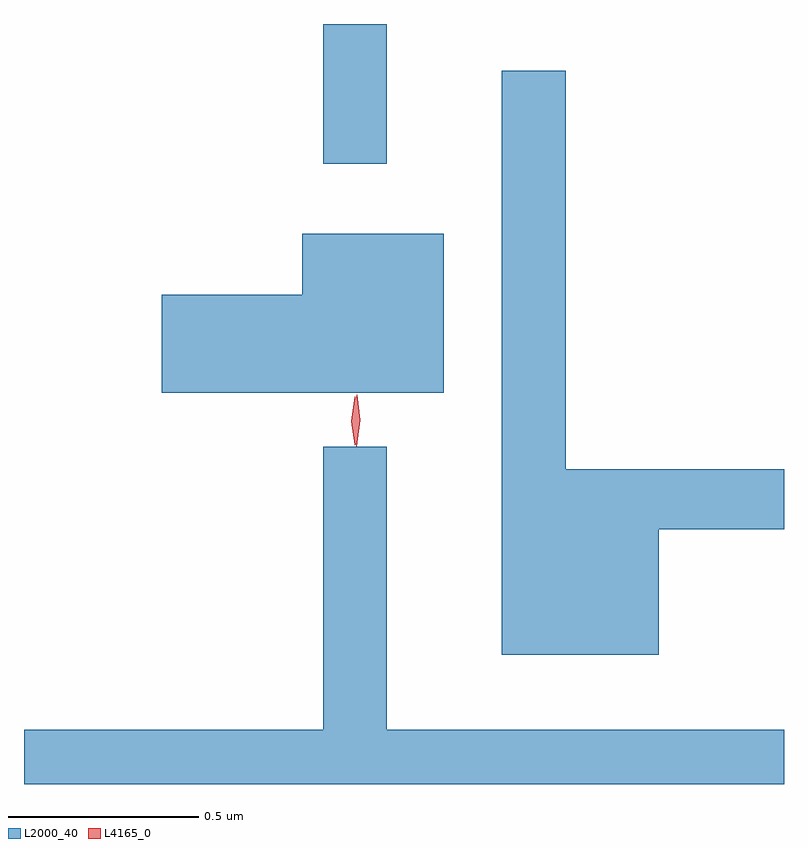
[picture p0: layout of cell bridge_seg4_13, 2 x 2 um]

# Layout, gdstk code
import gdstk
lib = gdstk.Library(unit=1e-6, precision=1e-09)
def R(c, l, rs):  # rectangles x0, y0, x1, y1
    for r in rs: c.add(gdstk.rectangle(r[:2], r[2:], *l))
def P(c, l, *ps):  # polygons
    for p in ps: c.add(gdstk.Polygon(p, *l))
L2000_40 = (2000, 40)
L4165_0 = (4165, 0)

bridge_seg4_13 = lib.new_cell('bridge_seg4_13')
R(bridge_seg4_13, L2000_40, [(1167.361,1298.713,1167.529,1299.081)])
P(bridge_seg4_13, L2000_40, [(1168.244,1297.751),(1168.574,1297.751),(1168.574,1297.909),(1167.999,1297.909),(1167.999,1298.958),(1167.831,1298.958),(1167.831,1297.421),(1168.244,1297.421)],
  [(1167.679,1298.529),(1167.306,1298.529),(1167.306,1298.369),(1166.936,1298.369),(1166.936,1298.111),(1167.679,1298.111)],
  [(1168.574,1297.224),(1167.529,1297.224),(1167.529,1297.968),(1167.361,1297.968),(1167.361,1297.224),(1166.574,1297.224),(1166.574,1297.081),(1168.574,1297.081)])
P(bridge_seg4_13, L4165_0, [(1167.448,1297.97),(1167.439,1298.038),(1167.45,1298.106),(1167.45,1298.106),(1167.451,1298.106),(1167.459,1298.038),(1167.449,1297.97),(1167.449,1297.97)],
  [(1167.445,1297.973),(1167.444,1297.974),(1167.435,1298.036),(1167.444,1298.1),(1167.445,1298.1),(1167.446,1298.1),(1167.455,1298.036),(1167.446,1297.974)])

lib.write_gds('bridge_seg4_13.gds')
